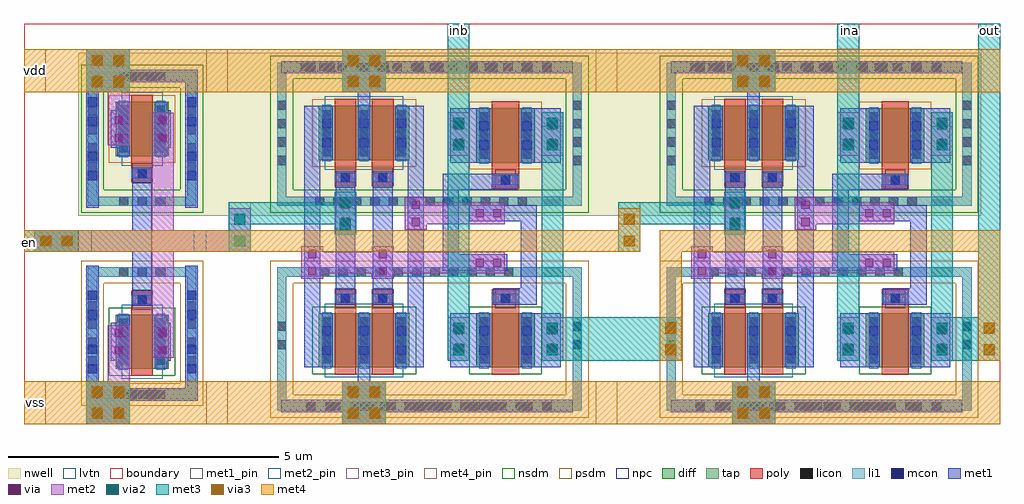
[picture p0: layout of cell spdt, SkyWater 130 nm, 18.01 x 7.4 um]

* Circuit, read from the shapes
.subckt spdt en ina inb out vdd vss
XM1 spdt__passgate_2/en en vss vss sky130_fd_pr__nfet_01v8_lvt w=1 l=0.4
XM2 vss spdt__passgate_2/en n1 vss sky130_fd_pr__nfet_01v8_lvt w=1 l=0.4
XM3 n2 n1 vss vss sky130_fd_pr__nfet_01v8_lvt w=1 l=0.4
XM4 out n2 inb vss sky130_fd_pr__nfet_01v8 w=1 l=0.5
XM5 vss en n3 vss sky130_fd_pr__nfet_01v8_lvt w=1 l=0.4
XM6 n4 n3 vss vss sky130_fd_pr__nfet_01v8_lvt w=1 l=0.4
XM7 out n4 ina vss sky130_fd_pr__nfet_01v8 w=1 l=0.5
XM8 spdt__passgate_2/en en vdd vdd sky130_fd_pr__pfet_01v8_lvt w=1 l=0.4
XM9 vdd spdt__passgate_2/en n1 vdd sky130_fd_pr__pfet_01v8_lvt w=1 l=0.4
XM10 n2 n1 vdd vdd sky130_fd_pr__pfet_01v8_lvt w=1 l=0.4
XM11 out n1 inb vdd sky130_fd_pr__pfet_01v8 w=1 l=0.5
XM12 vdd en n3 vdd sky130_fd_pr__pfet_01v8_lvt w=1 l=0.4
XM13 n4 n3 vdd vdd sky130_fd_pr__pfet_01v8_lvt w=1 l=0.4
XM14 out n3 ina vdd sky130_fd_pr__pfet_01v8 w=1 l=0.5
.ends

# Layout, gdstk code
from math import pi, radians
import gdstk
lib = gdstk.Library(unit=1e-6, precision=1e-09)
def R(c, l, rs):  # rectangles x0, y0, x1, y1
    for r in rs: c.add(gdstk.rectangle(r[:2], r[2:], *l))
def A(c, l, x, y, w, h, nx, ny, dx, dy):  # array of equal rectangles
    R(c, l, [(x+i*dx, y+j*dy, x+i*dx+w, y+j*dy+h) for i in range(nx) for j in range(ny)])
nwell = (64, 20)
diff = (65, 20)
tap = (65, 44)
poly = (66, 20)
licon = (66, 44)
li1 = (67, 20)
mcon = (67, 44)
met1_pin = (68, 16)
met1 = (68, 20)
via = (68, 44)
met2_pin = (69, 16)
met2 = (69, 20)
via2 = (69, 44)
met3_pin = (70, 16)
met3 = (70, 20)
via3 = (70, 44)
met4_pin = (71, 16)
met4 = (71, 20)
nsdm = (93, 44)
psdm = (94, 20)
npc = (95, 20)
lvtn = (125, 44)
boundary = (235, 4)

via__m3_m4 = lib.new_cell('via__M3_M4')
R(via__m3_m4, met3, [(0,0,0.8,0.4)])
R(via__m3_m4, via3, [(0.1,0.1,0.3,0.3), (0.5,0.1,0.7,0.3)])
R(via__m3_m4, met4, [(0,0,0.8,0.4)])

via__li_m1 = lib.new_cell('via__LI_M1')
R(via__li_m1, li1, [(0.03,0.03,0.56,0.2)])
R(via__li_m1, mcon, [(0.03,0.03,0.2,0.2), (0.39,0.03,0.56,0.2)])
R(via__li_m1, met1, [(0,0,0.59,0.23)])

via__m1_m2 = lib.new_cell('via__M1_M2')
R(via__m1_m2, met1, [(0,0.05,0.7,0.35)])
R(via__m1_m2, via, [(0.115,0.125,0.265,0.275), (0.435,0.125,0.585,0.275)])
R(via__m1_m2, met2, [(0.05,0,0.65,0.4)])

via__m2_m3 = lib.new_cell('via__M2_M3')
R(via__m2_m3, met2, [(0,0,0.8,0.4)])
R(via__m2_m3, via2, [(0.1,0.1,0.3,0.3), (0.1,0.1,0.3,0.3), (0.5,0.1,0.7,0.3), (0.5,0.1,0.7,0.3)])
R(via__m2_m3, met3, [(0,0,0.8,0.4)])

spdtpg__msn = lib.new_cell('spdtpg__MSN')
R(spdtpg__msn, diff, [(-0.54,-0.655,0.54,0.345)])
R(spdtpg__msn, poly, [(-0.25,-0.785,0.25,0.785)])
A(spdtpg__msn, licon, -0.48, -0.58, 0.17, 0.17, 1, 3, 0, 0.34)
A(spdtpg__msn, licon, 0.31, -0.58, 0.17, 0.17, 1, 3, 0, 0.34)
R(spdtpg__msn, licon, [(-0.085,0.535,0.085,0.705)])
R(spdtpg__msn, li1, [(-0.48,-0.675,-0.31,0.365), (0.31,-0.675,0.48,0.365), (-0.25,0.535,0.25,0.705)])
R(spdtpg__msn, mcon, [(-0.48,-0.42,-0.31,-0.25), (0.31,-0.42,0.48,-0.25), (-0.48,-0.06,-0.31,0.11), (0.31,-0.06,0.48,0.11), (-0.085,0.535,0.085,0.705)])
R(spdtpg__msn, met1, [(-0.51,-0.655,-0.28,0.345), (0.28,-0.655,0.51,0.345), (-0.23,0.505,0.23,0.735)])
R(spdtpg__msn, nsdm, [(-0.665,-0.78,0.665,0.47)])
R(spdtpg__msn, npc, [(-0.185,0.435,0.185,0.805)])

spdtpg__msp = lib.new_cell('spdtpg__MSP')
R(spdtpg__msp, nwell, [(-0.72,-0.82,0.72,0.99)])
R(spdtpg__msp, diff, [(-0.54,-0.32,0.54,0.68)])
R(spdtpg__msp, poly, [(-0.25,-0.805,0.25,0.81)])
A(spdtpg__msp, licon, -0.48, -0.245, 0.17, 0.17, 1, 3, 0, 0.34)
A(spdtpg__msp, licon, 0.31, -0.245, 0.17, 0.17, 1, 3, 0, 0.34)
R(spdtpg__msp, licon, [(-0.085,-0.725,0.085,-0.555)])
R(spdtpg__msp, li1, [(-0.25,-0.725,0.25,-0.555), (-0.48,-0.34,-0.31,0.7), (0.31,-0.34,0.48,0.7)])
R(spdtpg__msp, mcon, [(-0.085,-0.725,0.085,-0.555), (-0.48,-0.085,-0.31,0.085), (0.31,-0.085,0.48,0.085), (-0.48,0.275,-0.31,0.445), (0.31,0.275,0.48,0.445)])
R(spdtpg__msp, met1, [(-0.23,-0.755,0.23,-0.525), (-0.51,-0.32,-0.28,0.68), (0.28,-0.32,0.51,0.68)])
R(spdtpg__msp, psdm, [(-0.665,-0.445,0.665,0.805)])
R(spdtpg__msp, npc, [(-0.185,-0.825,0.185,-0.455)])

spdtpg__guardring_p = lib.new_cell('spdtpg__Guardring_P')
R(spdtpg__guardring_p, nwell, [(-17.185,5.33,-11.2,8.335)])
A(spdtpg__guardring_p, licon, -16.305, 5.51, 0.17, 0.17, 12, 1, 0.34, 0)
A(spdtpg__guardring_p, licon, -17.005, 6.265, 0.17, 0.17, 1, 4, 0, 0.34)
A(spdtpg__guardring_p, licon, -11.55, 6.265, 0.17, 0.17, 1, 4, 0, 0.34)
A(spdtpg__guardring_p, licon, -16.57, 7.985, 0.17, 0.17, 13, 1, 0.34, 0)
spdtpg__guardring_p.add(gdstk.FlexPath([(-17.005,8.07),(-11.465,8.07),(-11.465,5.595),(-16.92,5.595),(-16.92,8.07)], 0.17, ends="flush", simple_path=True, layer=67, datatype=20))  # li1
spdtpg__guardring_p.add(gdstk.FlexPath([(-17.13,8.07),(-11.465,8.07),(-11.465,5.595),(-16.92,5.595),(-16.92,8.07)], 0.42, ends="flush", simple_path=True, layer=93, datatype=44))  # nsdm
spdtpg__guardring_p.add(gdstk.FlexPath([(-17.005,8.07),(-11.465,8.07),(-11.465,5.595),(-16.92,5.595),(-16.92,8.07)], 0.17, ends="flush", simple_path=True, layer=65, datatype=44))  # tap
spdtpg__guardring_p.add(gdstk.FlexPath([(-17.185,8.07),(-11.465,8.07),(-11.465,5.595),(-16.92,5.595),(-16.92,8.07)], 0.53, ends="flush", simple_path=True, layer=64, datatype=20))  # nwell

spdtpg__mpinv = lib.new_cell('spdtpg__MPINV')
R(spdtpg__mpinv, nwell, [(-0.67,-0.82,0.67,0.945)])
R(spdtpg__mpinv, diff, [(-0.49,-0.32,0.49,0.68)])
R(spdtpg__mpinv, poly, [(-0.2,-0.805,0.2,0.81)])
A(spdtpg__mpinv, licon, -0.43, -0.245, 0.17, 0.17, 1, 3, 0, 0.34)
A(spdtpg__mpinv, licon, 0.26, -0.245, 0.17, 0.17, 1, 3, 0, 0.34)
R(spdtpg__mpinv, licon, [(-0.085,-0.725,0.085,-0.555)])
R(spdtpg__mpinv, li1, [(-0.2,-0.725,0.2,-0.555), (-0.43,-0.34,-0.26,0.7), (0.26,-0.34,0.43,0.7)])
R(spdtpg__mpinv, mcon, [(-0.085,-0.725,0.085,-0.555), (-0.43,-0.085,-0.26,0.085), (0.26,-0.085,0.43,0.085), (-0.43,0.275,-0.26,0.445), (0.26,0.275,0.43,0.445)])
R(spdtpg__mpinv, met1, [(-0.18,-0.755,0.18,-0.525), (-0.46,-0.32,-0.23,0.68), (0.23,-0.32,0.46,0.68)])
R(spdtpg__mpinv, psdm, [(-0.615,-0.445,0.615,0.805)])
R(spdtpg__mpinv, npc, [(-0.185,-0.825,0.185,-0.455)])
R(spdtpg__mpinv, lvtn, [(-0.38,-0.5,0.38,0.86)])

spdtpg__mninv = lib.new_cell('spdtpg__MNINV')
R(spdtpg__mninv, diff, [(-0.49,-0.655,0.49,0.345)])
R(spdtpg__mninv, poly, [(-0.2,-0.785,0.2,0.785)])
A(spdtpg__mninv, licon, -0.43, -0.58, 0.17, 0.17, 1, 3, 0, 0.34)
A(spdtpg__mninv, licon, 0.26, -0.58, 0.17, 0.17, 1, 3, 0, 0.34)
R(spdtpg__mninv, licon, [(-0.085,0.535,0.085,0.705)])
R(spdtpg__mninv, li1, [(-0.43,-0.675,-0.26,0.365), (0.26,-0.675,0.43,0.365), (-0.2,0.535,0.2,0.705)])
R(spdtpg__mninv, mcon, [(-0.43,-0.42,-0.26,-0.25), (0.26,-0.42,0.43,-0.25), (-0.43,-0.06,-0.26,0.11), (0.26,-0.06,0.43,0.11), (-0.085,0.535,0.085,0.705)])
R(spdtpg__mninv, met1, [(-0.46,-0.655,-0.23,0.345), (0.23,-0.655,0.46,0.345), (-0.18,0.505,0.18,0.735)])
R(spdtpg__mninv, nsdm, [(-0.615,-0.78,0.615,0.47)])
R(spdtpg__mninv, npc, [(-0.185,0.435,0.185,0.805)])
R(spdtpg__mninv, lvtn, [(-0.38,-0.835,0.38,0.525)])

spdtpg__guardring_n = lib.new_cell('spdtpg__Guardring_N')
A(spdtpg__guardring_n, licon, -16.005, 1.73, 0.17, 0.17, 11, 1, 0.34, 0)
A(spdtpg__guardring_n, licon, -16.215, 4.205, 0.17, 0.17, 11, 1, 0.34, 0)
R(spdtpg__guardring_n, licon, [(-17.005,2.865,-16.835,3.035), (-11.55,2.865,-11.38,3.035), (-17.005,3.205,-16.835,3.375), (-11.55,3.205,-11.38,3.375)])
spdtpg__guardring_n.add(gdstk.FlexPath([(-17.005,4.29),(-11.465,4.29),(-11.465,1.815),(-16.92,1.815),(-16.92,4.29)], 0.17, ends="flush", simple_path=True, layer=67, datatype=20))  # li1
spdtpg__guardring_n.add(gdstk.FlexPath([(-17.005,4.29),(-11.465,4.29),(-11.465,1.815),(-16.92,1.815),(-16.92,4.29)], 0.17, ends="flush", simple_path=True, layer=65, datatype=44))  # tap
spdtpg__guardring_n.add(gdstk.FlexPath([(-17.13,4.29),(-11.465,4.29),(-11.465,1.815),(-16.92,1.815),(-16.92,4.29)], 0.42, ends="flush", simple_path=True, layer=94, datatype=20))  # psdm

spdt__passgate = lib.new_cell('spdt__passgate')
R(spdt__passgate, met1, [(2.515,0,3.315,0.8), (2.8,0.75,3.03,1.05), (1.81,1.05,2.11,5.875), (3.72,1.05,4.02,5.875), (4.51,1.05,5.245,2.05), (5.805,1.05,6.54,2.05), (2.39,2.21,2.75,4.67), (3.08,2.21,3.44,4.67), (4.51,4.83,5.245,5.83), (5.805,4.83,6.54,5.83), (2.8,5.875,3.03,6.175), (2.8,5.875,3.03,6.175), (2.515,6.125,3.315,6.925)])
R(spdt__passgate, met3_pin, [(0.42,3.695,0.82,4.095), (6.19,5.49,6.59,5.755), (6.19,5.49,6.59,5.755), (4.46,6.925,4.86,7.19), (4.46,6.925,4.86,7.19)])
R(spdt__passgate, met4_pin, [(0,0,0.4,0.8), (0,6.125,0.4,6.925)])
R(spdt__passgate, boundary, [(0,0,7.19,7.19)])
spdt__passgate.add(gdstk.FlexPath([(5.41,2.985),(4.515,2.985),(4.515,4.475),(5.605,4.475)], 0.3, ends="extended", simple_path=True, layer=68, datatype=20))  # met1
spdt__passgate.add(gdstk.FlexPath([(1.5,0.335),(6.65,0.335)], 0.23, ends="extended", simple_path=True, layer=68, datatype=20))  # met1
spdt__passgate.add(gdstk.FlexPath([(1.5,6.59),(6.65,6.59)], 0.23, ends="extended", simple_path=True, layer=68, datatype=20))  # met1
spdt__passgate.add(gdstk.FlexPath([(5.325,3.895),(5.955,3.895),(5.955,2.36),(5.445,2.36)], 0.3, ends="extended", simple_path=True, layer=68, datatype=20))  # met1
spdt__passgate.add(gdstk.FlexPath([(6.39,1.375),(6.39,5.555)], 0.4, ends="extended", simple_path=True, layer=70, datatype=20))  # met3
spdt__passgate.add(gdstk.FlexPath([(6.39,1.375),(6.39,5.555)], 0.4, ends="extended", simple_path=True, layer=70, datatype=20))  # met3
spdt__passgate.add(gdstk.FlexPath([(0.62,3.895),(2.57,3.895)], 0.4, ends="extended", simple_path=True, layer=70, datatype=20))  # met3
spdt__passgate.add(gdstk.FlexPath([(4.66,1.375),(4.66,6.99)], 0.4, ends="extended", simple_path=True, layer=70, datatype=20))  # met3
spdt__passgate.add(gdstk.FlexPath([(4.66,1.375),(4.66,6.99)], 0.4, ends="extended", simple_path=True, layer=70, datatype=20))  # met3
spdt__passgate.add(gdstk.FlexPath([(6.79,6.525),(0.4,6.525)], 0.8, ends="extended", simple_path=True, layer=71, datatype=20))  # met4
spdt__passgate.add(gdstk.FlexPath([(6.79,0.4),(0.4,0.4)], 0.8, ends="extended", simple_path=True, layer=71, datatype=20))  # met4
spdt__passgate.add(gdstk.FlexPath([(1.96,2.985),(5.31,2.985)], 0.4, ends="extended", simple_path=True, layer=69, datatype=20))  # met2
spdt__passgate.add(gdstk.FlexPath([(3.87,3.895),(5.31,3.895)], 0.4, ends="extended", simple_path=True, layer=69, datatype=20))  # met2
spdt__passgate.add(gdstk.Reference(via__li_m1, (6.405,0.22), rotation=pi, x_reflection=True))
spdt__passgate.add(gdstk.Reference(via__li_m1, (5.405,0.22), rotation=pi, x_reflection=True))
spdt__passgate.add(gdstk.Reference(via__li_m1, (2.405,0.22), rotation=pi, x_reflection=True))
spdt__passgate.add(gdstk.Reference(via__m1_m2, (2.515,6.875), rotation=3*pi/2))
spdt__passgate.add(gdstk.Reference(via__m2_m3, (2.515,6.925), rotation=3*pi/2))
spdt__passgate.add(gdstk.Reference(via__m1_m2, (2.915,6.875), rotation=3*pi/2))
spdt__passgate.add(gdstk.Reference(via__m2_m3, (2.915,6.925), rotation=3*pi/2))
spdt__passgate.add(gdstk.Reference(via__m3_m4, (2.515,6.925), rotation=3*pi/2))
spdt__passgate.add(gdstk.Reference(via__m3_m4, (2.915,6.925), rotation=3*pi/2))
spdt__passgate.add(gdstk.Reference(via__m1_m2, (2.515,0.75), rotation=3*pi/2))
spdt__passgate.add(gdstk.Reference(via__m2_m3, (2.515,0.8), rotation=3*pi/2))
spdt__passgate.add(gdstk.Reference(via__m1_m2, (2.915,0.75), rotation=3*pi/2))
spdt__passgate.add(gdstk.Reference(via__m2_m3, (2.915,0.8), rotation=3*pi/2))
spdt__passgate.add(gdstk.Reference(via__m3_m4, (2.515,0.8), rotation=3*pi/2))
spdt__passgate.add(gdstk.Reference(via__m3_m4, (2.915,0.8), rotation=3*pi/2))
spdt__passgate.add(gdstk.Reference(via__m2_m3, (6.19,1.975), rotation=3*pi/2))
spdt__passgate.add(gdstk.Reference(via__m1_m2, (6.19,1.225), rotation=pi/2, x_reflection=True))
spdt__passgate.add(gdstk.Reference(via__m2_m3, (6.19,5.755), rotation=3*pi/2))
spdt__passgate.add(gdstk.Reference(via__m1_m2, (6.19,5.005), rotation=pi/2, x_reflection=True))
spdt__passgate.add(gdstk.Reference(via__m2_m3, (4.46,1.975), rotation=3*pi/2))
spdt__passgate.add(gdstk.Reference(via__m1_m2, (4.86,1.225), rotation=pi/2))
spdt__passgate.add(gdstk.Reference(via__m2_m3, (4.46,5.755), rotation=3*pi/2))
spdt__passgate.add(gdstk.Reference(via__m1_m2, (4.86,5.005), rotation=pi/2))
spdt__passgate.add(gdstk.Reference(spdtpg__msn, (5.525,1.705)))
spdt__passgate.add(gdstk.Reference(spdtpg__msp, (5.525,5.15)))
spdt__passgate.add(gdstk.Reference(via__li_m1, (4.405,0.22), rotation=pi, x_reflection=True))
spdt__passgate.add(gdstk.Reference(via__li_m1, (3.405,0.22), rotation=pi, x_reflection=True))
spdt__passgate.add(gdstk.Reference(spdtpg__guardring_p, (18.315,-1.48)))
spdt__passgate.add(gdstk.Reference(via__m2_m3, (2.37,4.295), rotation=3*pi/2))
spdt__passgate.add(gdstk.Reference(via__m1_m2, (5.56,4.095), rotation=pi))
spdt__passgate.add(gdstk.Reference(via__m1_m2, (5.56,3.185), rotation=pi))
spdt__passgate.add(gdstk.Reference(spdtpg__mpinv, (2.57,5.195), rotation=pi, x_reflection=True))
spdt__passgate.add(gdstk.Reference(spdtpg__mpinv, (3.26,5.195)))
spdt__passgate.add(gdstk.Reference(via__m1_m2, (3.67,3.545), rotation=pi/2, x_reflection=True))
spdt__passgate.add(gdstk.Reference(via__m1_m2, (2.37,3.545), rotation=pi/2, x_reflection=True))
spdt__passgate.add(gdstk.Reference(via__m1_m2, (1.76,2.635), rotation=pi/2, x_reflection=True))
spdt__passgate.add(gdstk.Reference(spdtpg__mninv, (3.26,1.705)))
spdt__passgate.add(gdstk.Reference(via__m1_m2, (3.06,2.635), rotation=pi/2, x_reflection=True))
spdt__passgate.add(gdstk.Reference(spdtpg__mninv, (2.57,1.705), rotation=pi, x_reflection=True))
spdt__passgate.add(gdstk.Reference(spdtpg__guardring_n, (18.315,-1.48)))
spdt__passgate.add(gdstk.Reference(via__li_m1, (6.405,6.475), rotation=pi, x_reflection=True))
spdt__passgate.add(gdstk.Reference(via__li_m1, (5.405,6.475), rotation=pi, x_reflection=True))
spdt__passgate.add(gdstk.Reference(via__li_m1, (2.405,6.475), rotation=pi, x_reflection=True))
spdt__passgate.add(gdstk.Reference(via__li_m1, (4.405,6.475), rotation=pi, x_reflection=True))
spdt__passgate.add(gdstk.Reference(via__li_m1, (3.405,6.475), rotation=pi, x_reflection=True))
spdt__passgate.add(gdstk.Label('en', (0.62,3.865), layer=70, texttype=16))
spdt__passgate.add(gdstk.Label('out', (6.39,5.59), layer=70, texttype=16))
spdt__passgate.add(gdstk.Label('in', (4.66,7.025), layer=70, texttype=16))
spdt__passgate.add(gdstk.Label('vdd', (0.178,6.532), layer=71, texttype=16))
spdt__passgate.add(gdstk.Label('vss', (0.178,0.407), layer=71, texttype=16))

spdti__mn = lib.new_cell('spdti__MN')
R(spdti__mn, diff, [(-0.49,-0.655,0.49,0.345)])
R(spdti__mn, tap, [(-1,-1.215,1,-1.045), (-1,-1.045,-0.83,1.045), (0.83,-1.045,1,1.045), (-1,1.045,1,1.215)])
R(spdti__mn, poly, [(-0.2,-0.785,0.2,0.785)])
A(spdti__mn, licon, -0.425, -1.215, 0.17, 0.17, 3, 2, 0.34, 2.26)
A(spdti__mn, licon, -1, -0.595, 0.17, 0.17, 1, 4, 0, 0.34)
A(spdti__mn, licon, 0.83, -0.595, 0.17, 0.17, 1, 4, 0, 0.34)
A(spdti__mn, licon, -0.43, -0.58, 0.17, 0.17, 1, 3, 0, 0.34)
A(spdti__mn, licon, 0.26, -0.58, 0.17, 0.17, 1, 3, 0, 0.34)
R(spdti__mn, licon, [(-0.085,0.535,0.085,0.705)])
R(spdti__mn, li1, [(-1,-1.215,1,-1.045), (-1,-1.045,-0.83,1.045), (0.83,-1.045,1,1.045), (-0.43,-0.675,-0.26,0.365), (0.26,-0.675,0.43,0.365), (-0.2,0.535,0.2,0.705), (-1,1.045,1,1.215)])
R(spdti__mn, mcon, [(-0.43,-0.42,-0.26,-0.25), (0.26,-0.42,0.43,-0.25), (-0.43,-0.06,-0.26,0.11), (0.26,-0.06,0.43,0.11), (-0.085,0.535,0.085,0.705)])
R(spdti__mn, met1, [(-0.46,-0.655,-0.23,0.345), (0.23,-0.655,0.46,0.345), (-0.18,0.505,0.18,0.735)])
R(spdti__mn, nsdm, [(-0.615,-0.78,0.615,0.47)])
R(spdti__mn, psdm, [(-1.125,-1.34,1.125,-0.92), (-1.125,-0.92,-0.705,0.92), (0.705,-0.92,1.125,0.92), (-1.125,0.92,1.125,1.34)])
R(spdti__mn, npc, [(-0.185,0.435,0.185,0.805)])
R(spdti__mn, lvtn, [(-0.38,-0.835,0.38,0.525)])
R(spdti__mn, boundary, [(-0.915,-1.13,0.915,1.13)])

spdti__mp = lib.new_cell('spdti__MP')
R(spdti__mp, nwell, [(-1.18,-1.42,1.18,1.42)])
R(spdti__mp, diff, [(-0.49,-0.32,0.49,0.68)])
R(spdti__mp, tap, [(-1,-1.24,1,-1.07), (-1,-1.07,-0.83,1.07), (0.83,-1.07,1,1.07), (-1,1.07,1,1.24)])
R(spdti__mp, poly, [(-0.2,-0.805,0.2,0.81)])
A(spdti__mp, licon, -0.425, -1.24, 0.17, 0.17, 3, 2, 0.34, 2.31)
A(spdti__mp, licon, -1, -0.595, 0.17, 0.17, 1, 4, 0, 0.34)
A(spdti__mp, licon, 0.83, -0.595, 0.17, 0.17, 1, 4, 0, 0.34)
A(spdti__mp, licon, -0.43, -0.245, 0.17, 0.17, 1, 3, 0, 0.34)
A(spdti__mp, licon, 0.26, -0.245, 0.17, 0.17, 1, 3, 0, 0.34)
R(spdti__mp, licon, [(-0.085,-0.725,0.085,-0.555)])
R(spdti__mp, li1, [(-1,-1.24,1,-1.07), (-1,-1.07,-0.83,1.07), (0.83,-1.07,1,1.07), (-0.2,-0.725,0.2,-0.555), (-0.43,-0.34,-0.26,0.7), (0.26,-0.34,0.43,0.7), (-1,1.07,1,1.24)])
R(spdti__mp, mcon, [(-0.085,-0.725,0.085,-0.555), (-0.43,-0.085,-0.26,0.085), (0.26,-0.085,0.43,0.085), (-0.43,0.275,-0.26,0.445), (0.26,0.275,0.43,0.445)])
R(spdti__mp, met1, [(-0.18,-0.755,0.18,-0.525), (-0.46,-0.32,-0.23,0.68), (0.23,-0.32,0.46,0.68)])
R(spdti__mp, nsdm, [(-1.125,-1.365,1.125,-0.945), (-1.125,-0.945,-0.705,0.945), (0.705,-0.945,1.125,0.945), (-1.125,0.945,1.125,1.365)])
R(spdti__mp, psdm, [(-0.615,-0.445,0.615,0.805)])
R(spdti__mp, npc, [(-0.185,-0.825,0.185,-0.455)])
R(spdti__mp, lvtn, [(-0.38,-0.5,0.38,0.86)])
R(spdti__mp, boundary, [(-0.915,-1.155,0.915,1.155)])

spdt__inv_lvt = lib.new_cell('spdt__inv_lvt')
R(spdt__inv_lvt, met1_pin, [(0,2.845,0.25,3.245)])
R(spdt__inv_lvt, met1, [(1,1.845,1.36,4.405)])
R(spdt__inv_lvt, met2_pin, [(0.55,0,0.95,0.095), (2.135,2.845,2.36,3.245), (0.55,6.255,0.95,6.35)])
R(spdt__inv_lvt, met2, [(1.36,0.885,1.76,5.41)])
R(spdt__inv_lvt, boundary, [(0,0,2.36,6.35)])
spdt__inv_lvt.add(gdstk.FlexPath([(0.265,3.775),(0.265,6.085)], 0.23, ends="extended", simple_path=True, layer=68, datatype=20))  # met1
spdt__inv_lvt.add(gdstk.FlexPath([(0.265,6.085),(2.095,6.085)], 0.23, ends="extended", simple_path=True, layer=68, datatype=20))  # met1
spdt__inv_lvt.add(gdstk.FlexPath([(2.095,3.775),(2.095,6.085)], 0.23, ends="extended", simple_path=True, layer=68, datatype=20))  # met1
spdt__inv_lvt.add(gdstk.FlexPath([(0.265,2.47),(0.265,0.21)], 0.23, ends="extended", simple_path=True, layer=68, datatype=20))  # met1
spdt__inv_lvt.add(gdstk.FlexPath([(0.265,0.21),(2.095,0.21)], 0.23, ends="extended", simple_path=True, layer=68, datatype=20))  # met1
spdt__inv_lvt.add(gdstk.FlexPath([(2.095,2.47),(2.095,0.21)], 0.23, ends="extended", simple_path=True, layer=68, datatype=20))  # met1
spdt__inv_lvt.add(gdstk.FlexPath([(0.2,3.045),(1.16,3.045)], 0.4, ends="extended", simple_path=True, layer=68, datatype=20))  # met1
spdt__inv_lvt.add(gdstk.FlexPath([(1.56,3.045),(2.16,3.045)], 0.4, ends="extended", simple_path=True, layer=69, datatype=20))  # met2
spdt__inv_lvt.add(gdstk.FlexPath([(0.75,1.285),(0.75,0.2)], 0.4, ends="extended", simple_path=True, layer=69, datatype=20))  # met2
spdt__inv_lvt.add(gdstk.FlexPath([(0.75,6.15),(0.75,5.01)], 0.4, ends="extended", simple_path=True, layer=69, datatype=20))  # met2
spdt__inv_lvt.add(gdstk.Reference(spdti__mn, (1.18,1.34)))
spdt__inv_lvt.add(gdstk.Reference(via__li_m1, (0.15,4.725), rotation=3*pi/2))
spdt__inv_lvt.add(gdstk.Reference(via__m1_m2, (1.36,5.46), rotation=3*pi/2))
spdt__inv_lvt.add(gdstk.Reference(via__m1_m2, (0.55,5.46), rotation=3*pi/2))
spdt__inv_lvt.add(gdstk.Reference(via__m1_m2, (1.36,1.535), rotation=3*pi/2))
spdt__inv_lvt.add(gdstk.Reference(via__m1_m2, (0.55,1.535), rotation=3*pi/2))
spdt__inv_lvt.add(gdstk.Reference(via__li_m1, (0.15,5.725), rotation=3*pi/2))
spdt__inv_lvt.add(gdstk.Reference(via__li_m1, (1.98,4.725), rotation=3*pi/2))
spdt__inv_lvt.add(gdstk.Reference(via__li_m1, (1.98,5.725), rotation=3*pi/2))
spdt__inv_lvt.add(gdstk.Reference(via__li_m1, (1.475,6.2), rotation=pi))
spdt__inv_lvt.add(gdstk.Reference(via__li_m1, (0.15,1.57), rotation=pi/2, x_reflection=True))
spdt__inv_lvt.add(gdstk.Reference(spdti__mp, (1.18,4.93)))
spdt__inv_lvt.add(gdstk.Reference(via__li_m1, (0.15,0.57), rotation=pi/2, x_reflection=True))
spdt__inv_lvt.add(gdstk.Reference(via__li_m1, (1.98,1.57), rotation=pi/2, x_reflection=True))
spdt__inv_lvt.add(gdstk.Reference(via__li_m1, (1.98,0.57), rotation=pi/2, x_reflection=True))
spdt__inv_lvt.add(gdstk.Reference(via__li_m1, (1.475,0.095), rotation=pi, x_reflection=True))
spdt__inv_lvt.add(gdstk.Label('in', (0.125,3.01), layer=68, texttype=16))
spdt__inv_lvt.add(gdstk.Label('out', (2.245,3.025), layer=69, texttype=16))
spdt__inv_lvt.add(gdstk.Label('vdd', (0.75,6.265), layer=69, texttype=16))
spdt__inv_lvt.add(gdstk.Label('vss', (0.75,0.025), layer=69, texttype=16))

spdt = lib.new_cell('spdt')
R(spdt, nwell, [(1,3.85,17.665,6.855)])
R(spdt, met1, [(1.15,0,1.95,0.8), (0.2,3.185,1.25,3.585), (1.15,6.125,1.95,6.925)])
R(spdt, met3_pin, [(0,3.185,0.2,3.585), (7.82,7.19,8.22,7.395), (15.01,7.19,15.41,7.395), (17.61,7.19,18.01,7.395)])
R(spdt, met3, [(9.55,1.175,12.135,1.975), (16.74,1.175,18.005,1.975), (0,3.185,0.2,3.585), (7.82,7.19,8.22,7.395), (15.01,7.19,15.41,7.395), (17.61,7.19,18.01,7.395)])
R(spdt, met4_pin, [(0,0,0.4,0.8), (0,3.185,0.2,3.585), (0,6.125,0.4,6.925)])
R(spdt, met4, [(17.74,0,18.01,0.8), (17.74,6.125,18.01,6.925)])
R(spdt, boundary, [(0,0,18.01,7.395)])
spdt.add(gdstk.FlexPath([(11.935,1.375),(11.935,1.775)], 0.4, ends="extended", simple_path=True, layer=70, datatype=20))  # met3
spdt.add(gdstk.FlexPath([(11.935,1.375),(11.935,1.775)], 0.4, ends="extended", simple_path=True, layer=70, datatype=20))  # met3
spdt.add(gdstk.FlexPath([(17.81,1.38),(17.81,6.99)], 0.4, ends="extended", simple_path=True, layer=70, datatype=20))  # met3
spdt.add(gdstk.FlexPath([(3.98,3.385),(3.98,3.885)], 0.4, ends="extended", simple_path=True, layer=70, datatype=20))  # met3
spdt.add(gdstk.FlexPath([(11.17,3.385),(11.17,3.895)], 0.4, ends="extended", simple_path=True, layer=70, datatype=20))  # met3
spdt.add(gdstk.FlexPath([(0.2,3.385),(11.17,3.385)], 0.4, ends="extended", simple_path=True, layer=71, datatype=20))  # met4
spdt.add(gdstk.FlexPath([(11.935,1.775),(11.935,3.385),(17.81,3.385)], 0.4, ends="extended", simple_path=True, layer=71, datatype=20))  # met4
spdt.add(gdstk.FlexPath([(17.81,1.375),(17.81,3.385)], 0.4, ends="extended", simple_path=True, layer=71, datatype=20))  # met4
spdt.add(gdstk.FlexPath([(3.76,0.4),(0.4,0.4)], 0.8, ends="extended", simple_path=True, layer=71, datatype=20))  # met4
spdt.add(gdstk.FlexPath([(3.76,6.525),(0.4,6.525)], 0.8, ends="extended", simple_path=True, layer=71, datatype=20))  # met4
spdt.add(gdstk.FlexPath([(3.16,3.385),(3.98,3.385)], 0.4, ends="extended", simple_path=True, layer=69, datatype=20))  # met2
spdt.add(gdstk.Reference(via__m3_m4, (11.735,1.975), rotation=3*pi/2))
spdt.add(gdstk.Reference(via__m3_m4, (17.61,1.975), rotation=3*pi/2))
spdt.add(gdstk.Reference(spdt__passgate, (3.36,0)))
spdt.add(gdstk.Reference(spdt__passgate, (10.55,0)))
spdt.add(gdstk.Reference(spdt__inv_lvt, (1,0.34)))
spdt.add(gdstk.Reference(via__m3_m4, (1.55,0.8), rotation=3*pi/2))
spdt.add(gdstk.Reference(via__m3_m4, (1.15,0.8), rotation=3*pi/2))
spdt.add(gdstk.Reference(via__m2_m3, (1.55,0.8), rotation=3*pi/2))
spdt.add(gdstk.Reference(via__m1_m2, (1.55,0.75), rotation=3*pi/2))
spdt.add(gdstk.Reference(via__m2_m3, (1.15,0.8), rotation=3*pi/2))
spdt.add(gdstk.Reference(via__m1_m2, (1.15,0.75), rotation=3*pi/2))
spdt.add(gdstk.Reference(via__m3_m4, (1.55,6.925), rotation=3*pi/2))
spdt.add(gdstk.Reference(via__m3_m4, (1.15,6.925), rotation=3*pi/2))
spdt.add(gdstk.Reference(via__m2_m3, (1.55,6.925), rotation=3*pi/2))
spdt.add(gdstk.Reference(via__m1_m2, (1.55,6.875), rotation=3*pi/2))
spdt.add(gdstk.Reference(via__m2_m3, (1.15,6.925), rotation=3*pi/2))
spdt.add(gdstk.Reference(via__m1_m2, (1.15,6.875), rotation=3*pi/2))
spdt.add(gdstk.Reference(via__m3_m4, (10.97,3.985), rotation=3*pi/2))
spdt.add(gdstk.Reference(via__m2_m3, (3.78,3.985), rotation=3*pi/2))
spdt.add(gdstk.Reference(via__m3_m4, (1,3.585), rotation=pi))
spdt.add(gdstk.Reference(via__m2_m3, (1,3.585), rotation=pi))
spdt.add(gdstk.Reference(via__m1_m2, (0.95,3.585), rotation=pi))
spdt.add(gdstk.Label('ina', (15.225,7.265), layer=70, texttype=16))
spdt.add(gdstk.Label('inb', (8.035,7.265), layer=70, texttype=16))
spdt.add(gdstk.Label('out', (17.825,7.265), layer=70, texttype=16))
spdt.add(gdstk.Label('en', (0.105,3.355), layer=70, texttype=16))
spdt.add(gdstk.Label('vss', (0.21,0.4), layer=71, texttype=16))
spdt.add(gdstk.Label('vdd', (0.21,6.525), layer=71, texttype=16))

lib.write_gds('spdt.gds')
